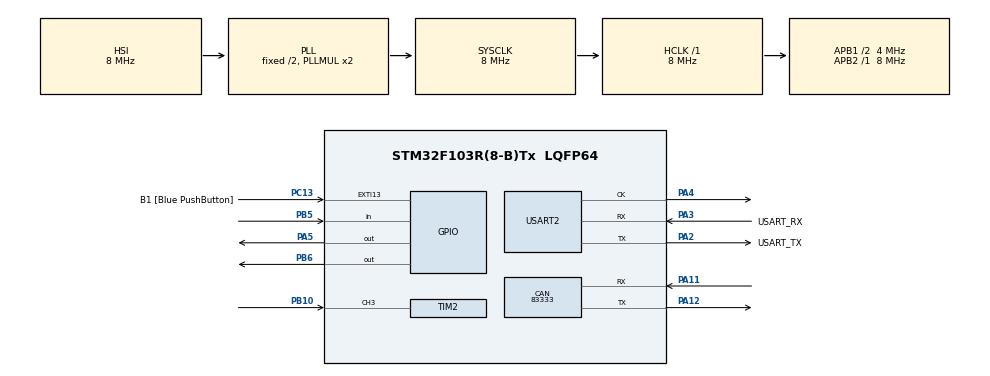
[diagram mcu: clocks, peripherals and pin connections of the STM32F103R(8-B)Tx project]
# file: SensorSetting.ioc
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CAN.CalculateBaudRate=83333
CAN.CalculateTimeBit=12000
CAN.CalculateTimeQuantum=4000.0
Mcu.Family=STM32F1
Mcu.Name=STM32F103R(8-B)Tx
Mcu.Package=LQFP64
NVIC.EXTI15_10_IRQn=true\:0\:0\:false\:false\:true\:true\:true\:true
NVIC.PriorityGroup=NVIC_PRIORITYGROUP_4
NVIC.TIM2_IRQn=true\:0\:0\:false\:false\:true\:true\:true\:true
NVIC.TIM3_IRQn=true\:0\:0\:false\:false\:true\:true\:true\:true
PA11.Mode=CAN_Activate
PA11.Signal=CAN_RX
PA12.Mode=CAN_Activate
PA12.Signal=CAN_TX
PA13.GPIO_Label=TMS
PA13.Mode=Serial_Wire
PA13.Signal=SYS_JTMS-SWDIO
PA14.GPIO_Label=TCK
PA14.Mode=Serial_Wire
PA14.Signal=SYS_JTCK-SWCLK
PA2.GPIO_Label=USART_TX
PA2.GPIO_Mode=GPIO_MODE_AF_PP
PA2.GPIO_PuPd=GPIO_NOPULL
PA2.GPIO_Speed=GPIO_SPEED_FREQ_LOW
PA2.Mode=Synchronous
PA2.Signal=USART2_TX
PA3.GPIO_Label=USART_RX
PA3.GPIO_Mode=GPIO_MODE_AF_PP
PA3.GPIO_PuPd=GPIO_NOPULL
PA3.GPIO_Speed=GPIO_SPEED_FREQ_LOW
PA3.Mode=Synchronous
PA3.Signal=USART2_RX
PA4.Mode=Synchronous
PA4.Signal=USART2_CK
PA5.Signal=GPIO_Output
PB10.Signal=S_TIM2_CH3
PB3.GPIO_Label=SWO
PB3.Signal=SYS_JTDO-TRACESWO
PB5.Signal=GPIO_Input
PB6.Signal=GPIO_Output
PC1.Signal=ADCx_IN11
PC13-TAMPER-RTC.GPIO_Label=B1 [Blue PushButton]
PC13-TAMPER-RTC.GPIO_PuPd=GPIO_NOPULL
PC13-TAMPER-RTC.Signal=GPXTI13
PC14-OSC32_IN.Mode=LSE-External-Oscillator
PC14-OSC32_IN.Signal=RCC_OSC32_IN
PC15-OSC32_OUT.Mode=LSE-External-Oscillator
PC15-OSC32_OUT.Signal=RCC_OSC32_OUT
PD0-OSC_IN.Mode=HSE-External-Clock-Source
PD0-OSC_IN.Signal=RCC_OSC_IN
PD1-OSC_OUT.Mode=HSE-External-Clock-Source
PD1-OSC_OUT.Signal=RCC_OSC_OUT
ProjectManager.HeapSize=0x200
ProjectManager.StackSize=0x400
ProjectManager.TargetToolchain=MDK-ARM V5.32
RCC.AHBFreq_Value=8000000
RCC.APB1CLKDivider=RCC_HCLK_DIV2
RCC.APB1Freq_Value=4000000
RCC.APB1TimFreq_Value=8000000
RCC.APB2Freq_Value=8000000
RCC.APB2TimFreq_Value=8000000
RCC.HCLKFreq_Value=8000000
RCC.RTCClockSelection=RCC_RTCCLKSOURCE_LSE
RCC.SYSCLKFreq_VALUE=8000000
RCC.SYSCLKSource=RCC_SYSCLKSOURCE_PLLCLK
RCC.USBFreq_Value=8000000
SH.ADCx_IN11.0=ADC1_IN11
SH.S_TIM2_CH3.0=TIM2_CH3,Input_Capture3_from_TI3
TIM2.Channel-Input_Capture3_from_TI3=TIM_CHANNEL_3
TIM2.Prescaler=8-1
TIM3.Period=1000-1
TIM3.Prescaler=24000-1
USART2.VirtualMode=VM_SYNC
VP_TIM2_VS_ClockSourceINT.Mode=Internal
VP_TIM3_VS_ClockSourceINT.Mode=Internal
board=NUCLEO-F103RB

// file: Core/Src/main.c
/* USER CODE BEGIN Header */
/**
  ******************************************************************************
  * @file           : main.c
  * @brief          : Main program body
  ******************************************************************************
  * @attention
  *
  * Copyright (c) 2025 STMicroelectronics.
  * All rights reserved.
  *
  * This software is licensed under terms that can be found in the LICENSE file
  * in the root directory of this software component.
  * If no LICENSE file comes with this software, it is provided AS-IS.
  *
  ******************************************************************************
  */
/* USER CODE END Header */
#include "main.h"
#include "can.h"
#include "tim.h"
#include "usart.h"
#include "gpio.h"

/* USER CODE BEGIN Includes */
#include "stdio.h"
#include "string.h"
/* USER CODE END Includes */

/* USER CODE BEGIN PV */
volatile static bReadHCSR501 = 0;
volatile static uint32_t IC_Val1 = 0;
volatile static uint32_t IC_Val2 = 0;
volatile static uint32_t Difference = 0;
volatile static uint8_t Is_First_Captured = 0;  // is the first value captured ?
volatile static uint8_t Distance  = 0;
/* USER CODE END PV */

void SystemClock_Config(void);
/* USER CODE BEGIN PFP */
void delay (uint16_t time);
void HAL_TIM_IC_CaptureCallback(TIM_HandleTypeDef *htim);
void HCSR04_Read (void);
/* USER CODE END PFP */

int main(void)
{

  /* MCU Configuration--------------------------------------------------------*/

  /* Reset of all peripherals, Initializes the Flash interface and the Systick. */
  HAL_Init();

  /* Configure the system clock */
  SystemClock_Config();

  /* Initialize all configured peripherals */
  MX_GPIO_Init();
  MX_USART2_Init();
  MX_CAN_Init();

  MX_TIM3_Init();
  MX_TIM2_Init();

  /* Infinite loop */
  /* USER CODE BEGIN WHILE */
  HAL_TIM_IC_Start_IT(&htim2, TIM_CHANNEL_3);
  HAL_TIM_Base_Start_IT(&htim3);
  while (1)
  {
    /* USER CODE END WHILE */

  }
}

void SystemClock_Config(void)
{
  RCC_OscInitTypeDef RCC_OscInitStruct = {0};
  RCC_ClkInitTypeDef RCC_ClkInitStruct = {0};

  /** Initializes the RCC Oscillators according to the specified parameters
  * in the RCC_OscInitTypeDef structure.
  */
  RCC_OscInitStruct.OscillatorType = RCC_OSCILLATORTYPE_HSI;
  RCC_OscInitStruct.HSIState = RCC_HSI_ON;
  RCC_OscInitStruct.HSICalibrationValue = RCC_HSICALIBRATION_DEFAULT;
  RCC_OscInitStruct.PLL.PLLState = RCC_PLL_ON;
  RCC_OscInitStruct.PLL.PLLSource = RCC_PLLSOURCE_HSI_DIV2;
  RCC_OscInitStruct.PLL.PLLMUL = RCC_PLL_MUL2;
  if (HAL_RCC_OscConfig(&RCC_OscInitStruct) != HAL_OK)
  {
    Error_Handler();
  }

  /** Initializes the CPU, AHB and APB buses clocks
  */
  RCC_ClkInitStruct.ClockType = RCC_CLOCKTYPE_HCLK|RCC_CLOCKTYPE_SYSCLK
                              |RCC_CLOCKTYPE_PCLK1|RCC_CLOCKTYPE_PCLK2;
  RCC_ClkInitStruct.SYSCLKSource = RCC_SYSCLKSOURCE_PLLCLK;
  RCC_ClkInitStruct.AHBCLKDivider = RCC_SYSCLK_DIV1;
  RCC_ClkInitStruct.APB1CLKDivider = RCC_HCLK_DIV2;
  RCC_ClkInitStruct.APB2CLKDivider = RCC_HCLK_DIV1;

  if (HAL_RCC_ClockConfig(&RCC_ClkInitStruct, FLASH_LATENCY_0) != HAL_OK)
  {
    Error_Handler();
  }
}

/* USER CODE BEGIN 4 */
void delay (uint16_t time)
{
    __HAL_TIM_SET_COUNTER(&htim2, 0);
    while (__HAL_TIM_GET_COUNTER (&htim2) < time);
}

void HAL_TIM_IC_CaptureCallback(TIM_HandleTypeDef *htim)
{
    if (htim->Channel == HAL_TIM_ACTIVE_CHANNEL_3)  // if the interrupt source is channel1
    {
        if (Is_First_Captured==0) // if the first value is not captured
        {
            IC_Val1 = HAL_TIM_ReadCapturedValue(htim, TIM_CHANNEL_3); // read the first value
            Is_First_Captured = 1;  // set the first captured as true
            // Now change the polarity to falling edge
            __HAL_TIM_SET_CAPTUREPOLARITY(htim, TIM_CHANNEL_3, TIM_INPUTCHANNELPOLARITY_FALLING);
        }

        else if (Is_First_Captured==1)   // if the first is already captured
        {
            IC_Val2 = HAL_TIM_ReadCapturedValue(htim, TIM_CHANNEL_3);  // read second value
            __HAL_TIM_SET_COUNTER(htim, 0);  // reset the counter

            if (IC_Val2 > IC_Val1)
            {
                Difference = IC_Val2-IC_Val1;
            }

            else if (IC_Val1 > IC_Val2)
            {
                Difference = (0xffff - IC_Val1) + IC_Val2;
            }

            Distance = Difference * .034/2;
            Is_First_Captured = 0; // set it back to false

            // set polarity to rising edge
            __HAL_TIM_SET_CAPTUREPOLARITY(htim, TIM_CHANNEL_3, TIM_INPUTCHANNELPOLARITY_RISING);
            __HAL_TIM_DISABLE_IT(&htim2, TIM_IT_CC3);
        }
    }
}

void HCSR04_Read (void)
{
	HAL_GPIO_WritePin(GPIOB,GPIO_PIN_6,GPIO_PIN_SET);
	delay(10);
	HAL_GPIO_WritePin(GPIOB,GPIO_PIN_6,GPIO_PIN_RESET);

	__HAL_TIM_ENABLE_IT(&htim2, TIM_IT_CC3);
}

void HAL_TIM_PeriodElapsedCallback(TIM_HandleTypeDef *htim)
{
	volatile static GPIO_PinState bReadHCSR501 = 0;
	if(htim->Instance == htim3.Instance){
	  char buffer[30];
	  bReadHCSR501 = HAL_GPIO_ReadPin(GPIOB,GPIO_PIN_4);
	  HCSR04_Read();

	  switch(bReadHCSR501){
		case(GPIO_PIN_RESET):
			sprintf(buffer, "Not Detective\n");
			break;
		case(GPIO_PIN_SET):
			sprintf(buffer, "Detective\n");
			break;
		default:
			break;
	  }
	  HAL_USART_Transmit(&husart2, (uint8_t*)buffer, strlen(buffer), HAL_MAX_DELAY);

	  sprintf(buffer, "%d\n", Distance);
	  HAL_USART_Transmit(&husart2, (uint8_t*)buffer, strlen(buffer), HAL_MAX_DELAY);
	}
}
/* USER CODE END 4 */

void Error_Handler(void)
{
  __disable_irq();
  while (1)
  {
  }
}
